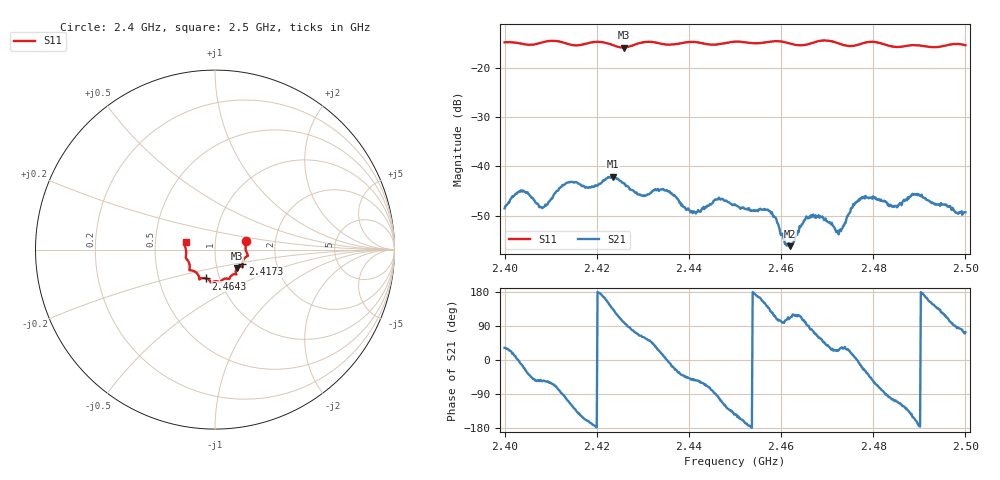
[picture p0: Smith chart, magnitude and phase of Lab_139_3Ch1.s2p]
# Hz S RI R 50
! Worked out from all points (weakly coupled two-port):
!   601 points, 2.4 GHz to 2.5 GHz, reference 50 ohm
!   highest |S21| = -42.12 dB at 2.4235 GHz (marker M1); lowest = -56.2 dB at 2.4618 GHz (marker M2)
!   lowest |S11| = -15.9 dB at 2.4258 GHz (marker M3), VSWR 1.38, Z = 62.3 - j13.2 ohm
!   |S11| at or under -10 dB: start of sweep to end of sweep
!   S12 and S22 are empty: the file has one direction only
!   S11 on the Smith chart (normalised r, x): 2.4 GHz: 1.41, +0.15; 2.4173 GHz: 1.34, -0.23; 2.4643 GHz: 0.86, -0.28; 2.5 GHz: 0.72, +0.06
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2.4e9  0.1731 0.0499  0.00318 0.00199  0 0  0 0
2.4035e9  0.1725 0.0304  0.0056 -0.001  0 0  0 0
2.408e9  0.1782 -0.0209  0.00216 -0.00314  0 0  0 0
2.413e9  0.1734 -0.0402  -0.000647 -0.0065  0 0  0 0
2.416667e9  0.1529 -0.075  -0.00537 -0.00341  0 0  0 0
2.417333e9  0.1523 -0.0823  -0.00569 -0.00258  0 0  0 0
2.4235e9  0.1409 -0.0935  -0.00539 0.00569  0 0  0 0
2.425833e9  0.1217 -0.1035  -0.0012 0.00662  0 0  0 0
2.43e9  0.1179 -0.1363  0.00248 0.00441  0 0  0 0
2.433333e9  0.1125 -0.1367  0.00522 0.00269  0 0  0 0
2.441e9  0.0781 -0.1645  0.00208 -0.00279  0 0  0 0
2.446167e9  0.0462 -0.1655  -0.00035 -0.00463  0 0  0 0
2.45e9  0.0296 -0.1809  -0.00332 -0.00242  0 0  0 0
2.4575e9  -0.0165 -0.1821  -0.00244 0.00254  0 0  0 0
2.461833e9  -0.0287 -0.1735  -0.00053 0.00145  0 0  0 0
2.464333e9  -0.0502 -0.1608  -0.000983 0.00228  0 0  0 0
2.466667e9  -0.0763 -0.16  0.000514 0.00302  0 0  0 0
2.4725e9  -0.0891 -0.1515  0.00184 0.00087  0 0  0 0
2.4775e9  -0.1312 -0.1161  0.00459 -0.00161  0 0  0 0
2.483333e9  -0.141 -0.0896  -0.000565 -0.00405  0 0  0 0
2.489333e9  -0.1628 -0.0444  -0.00487 -0.00168  0 0  0 0
2.5e9  -0.1634 0.042  0.000998 0.00327  0 0  0 0
